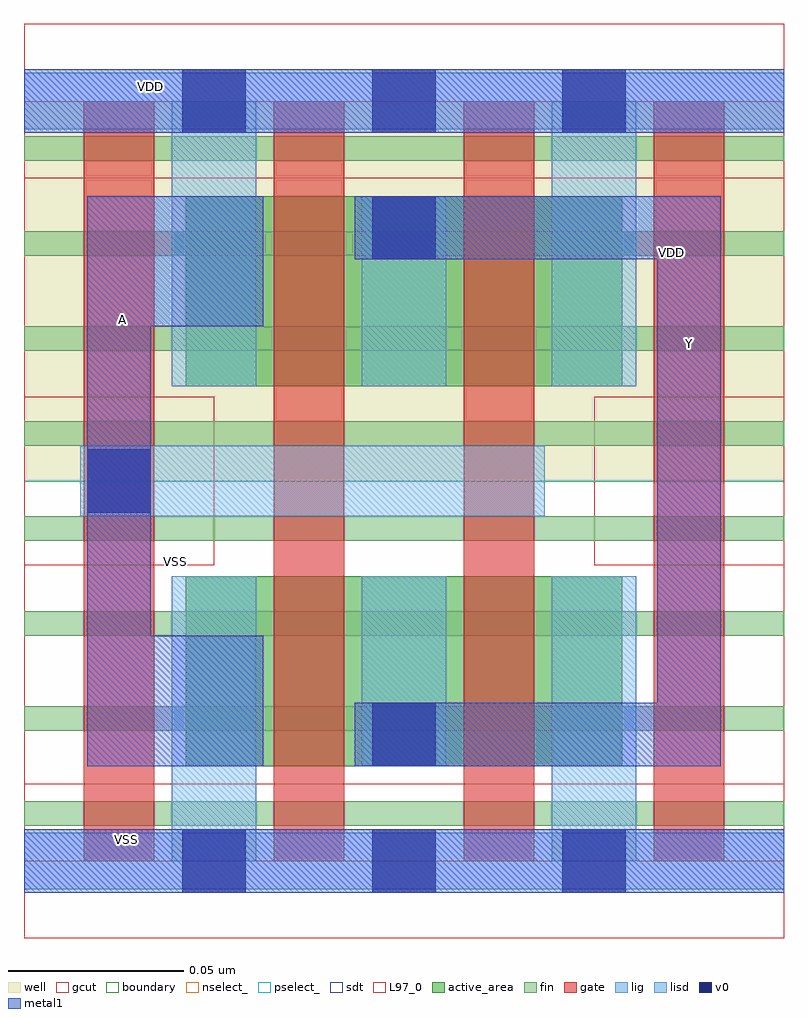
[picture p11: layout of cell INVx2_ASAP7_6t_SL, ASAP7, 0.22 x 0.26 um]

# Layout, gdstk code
import gdstk
lib = gdstk.Library(unit=1e-6, precision=2.5e-10)
def R(c, l, rs):  # rectangles x0, y0, x1, y1
    for r in rs: c.add(gdstk.rectangle(r[:2], r[2:], *l))
def A(c, l, x, y, w, h, nx, ny, dx, dy):  # array of equal rectangles
    R(c, l, [(x+i*dx, y+j*dy, x+i*dx+w, y+j*dy+h) for i in range(nx) for j in range(ny)])
def P(c, l, *ps):  # polygons
    for p in ps: c.add(gdstk.Polygon(p, *l))
well = (1, 0)
fin = (2, 0)
gate = (7, 0)
gcut = (10, 0)
active_area = (11, 0)
nselect_ = (12, 0)
pselect_ = (13, 0)
lig = (16, 0)
lisd = (17, 0)
v0 = (18, 0)
metal1 = (19, 0)
sdt = (88, 0)
L97_0 = (97, 0)
boundary = (100, 0)

invx2_asap7_6t_sl = lib.new_cell('INVx2_ASAP7_6t_SL')
R(invx2_asap7_6t_sl, well, [(0,0.108,0.216,0.216)])
A(invx2_asap7_6t_sl, fin, 0, 0.01, 0.216, 0.007, 1, 8, 0, 0.027)
A(invx2_asap7_6t_sl, gate, 0.017, 0, 0.02, 0.216, 4, 1, 0.054, 0)
R(invx2_asap7_6t_sl, gcut, [(0,-0.022,0.216,0.022), (0,0.084,0.054,0.132), (0.162,0.084,0.216,0.132), (0,0.194,0.216,0.238)])
R(invx2_asap7_6t_sl, active_area, [(0.046,0.027,0.17,0.081), (0.046,0.135,0.17,0.189)])
R(invx2_asap7_6t_sl, nselect_, [(0,0,0.216,0.108)])
R(invx2_asap7_6t_sl, pselect_, [(0,0.108,0.216,0.216)])
R(invx2_asap7_6t_sl, lig, [(0,-0.008,0.216,0.008), (0.016,0.098,0.148,0.118), (0,0.208,0.216,0.224)])
R(invx2_asap7_6t_sl, lisd, [(0.042,0,0.066,0.081), (0.15,0,0.174,0.081), (0.096,0.027,0.12,0.081), (0.042,0.135,0.066,0.216), (0.096,0.135,0.12,0.189), (0.15,0.135,0.174,0.216)])
A(invx2_asap7_6t_sl, v0, 0.045, -0.009, 0.018, 0.018, 3, 2, 0.054, 0.216)
R(invx2_asap7_6t_sl, v0, [(0.099,0.027,0.117,0.045), (0.018,0.099,0.036,0.117), (0.099,0.171,0.117,0.189)])
R(invx2_asap7_6t_sl, metal1, [(0,-0.009,0.216,0.009), (0,0.207,0.216,0.225)])
P(invx2_asap7_6t_sl, metal1, [(0.198,0.189),(0.094,0.189),(0.094,0.171),(0.18,0.171),(0.18,0.045),(0.094,0.045),(0.094,0.027),(0.198,0.027)],
  [(0.036,0.152),(0.068,0.152),(0.068,0.189),(0.018,0.189),(0.018,0.027),(0.068,0.027),(0.068,0.064),(0.036,0.064)])
A(invx2_asap7_6t_sl, sdt, 0.042, 0.027, 0.024, 0.054, 3, 2, 0.054, 0.108)
R(invx2_asap7_6t_sl, L97_0, [(0,0,0.216,0.216)])
R(invx2_asap7_6t_sl, boundary, [(0,0,0.216,0.216)])
invx2_asap7_6t_sl.add(gdstk.Label('VDD', (0.184,0.173), layer=1, texttype=251))
invx2_asap7_6t_sl.add(gdstk.Label('Y', (0.189,0.147), layer=19, texttype=251))
invx2_asap7_6t_sl.add(gdstk.Label('A', (0.028,0.154), layer=19, texttype=251))
invx2_asap7_6t_sl.add(gdstk.Label('VDD', (0.036,0.22), layer=19, texttype=251))
invx2_asap7_6t_sl.add(gdstk.Label('VSS', (0.029,0.006), layer=19, texttype=251))
invx2_asap7_6t_sl.add(gdstk.Label('VSS', (0.043,0.085), layer=3, texttype=251))

lib.write_gds('INVx2_ASAP7_6t_SL.gds')
